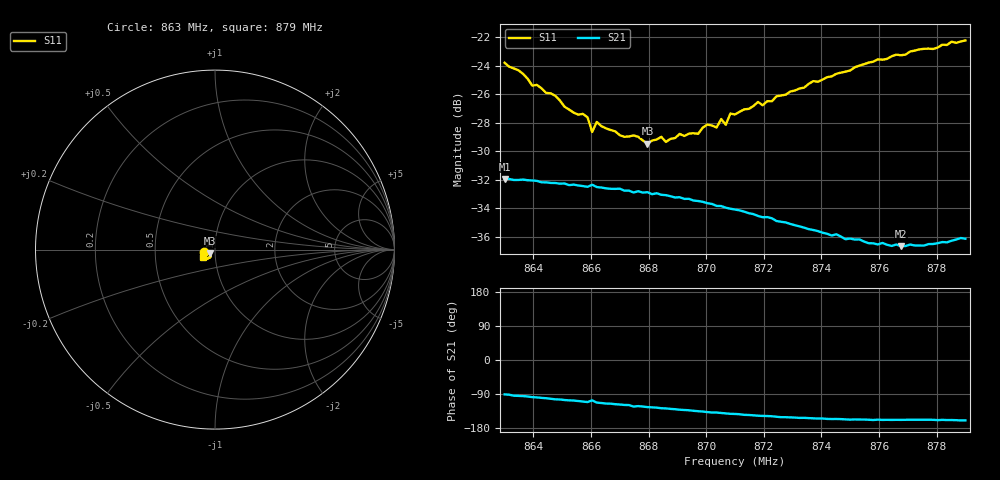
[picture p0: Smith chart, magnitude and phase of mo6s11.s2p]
# HZ S RI R 50
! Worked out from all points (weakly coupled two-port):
!   101 points, 863 MHz to 879 MHz, reference 50 ohm
!   highest |S21| = -31.93 dB at 863 MHz (marker M1); lowest = -36.6 dB at 876.76 MHz (marker M2)
!   lowest |S11| = -29.5 dB at 867.96 MHz (marker M3), VSWR 1.07, Z = 47.3 - j1.85 ohm
!   |S11| at or under -10 dB: start of sweep to end of sweep
!   S12 and S22 are empty: the file has one direction only
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8.63e8  -0.0628 -0.016  -0.000323 -0.0253  0 0  0 0
8.6364e8  -0.0576 -0.0137  -0.0023 -0.0251  0 0  0 0
8.6396e8  -0.0522 -0.0128  -0.00349 -0.0248  0 0  0 0
8.6572e8  -0.0401 -0.015  -0.00804 -0.0225  0 0  0 0
8.6588e8  -0.0393 -0.0137  -0.00849 -0.0222  0 0  0 0
8.6604e8  -0.034 -0.0145  -0.00688 -0.0232  0 0  0 0
8.662e8  -0.0371 -0.0153  -0.00901 -0.0219  0 0  0 0
8.6796e8  -0.0274 -0.0195  -0.0128 -0.0188  0 0  0 0
8.6844e8  -0.0273 -0.0228  -0.0135 -0.0177  0 0  0 0
8.686e8  -0.0256 -0.0226  -0.0136 -0.0176  0 0  0 0
8.6908e8  -0.0257 -0.0258  -0.0144 -0.0164  0 0  0 0
8.6972e8  -0.0234 -0.0279  -0.015 -0.015  0 0  0 0
8.7004e8  -0.0241 -0.0311  -0.0153 -0.0141  0 0  0 0
8.7036e8  -0.0231 -0.0307  -0.0153 -0.0135  0 0  0 0
8.7052e8  -0.0244 -0.0331  -0.0155 -0.0131  0 0  0 0
8.7068e8  -0.0227 -0.032  -0.0156 -0.0127  0 0  0 0
8.7084e8  -0.0257 -0.0344  -0.0157 -0.0122  0 0  0 0
8.71e8  -0.0241 -0.0352  -0.0157 -0.0121  0 0  0 0
8.7372e8  -0.0317 -0.046  -0.0151 -0.00737  0 0  0 0
8.7644e8  -0.0477 -0.0488  -0.0137 -0.00549  0 0  0 0
8.7676e8  -0.0489 -0.0484  -0.0136 -0.00551  0 0  0 0
8.79e8  -0.0645 -0.043  -0.0146 -0.00553  0 0  0 0
